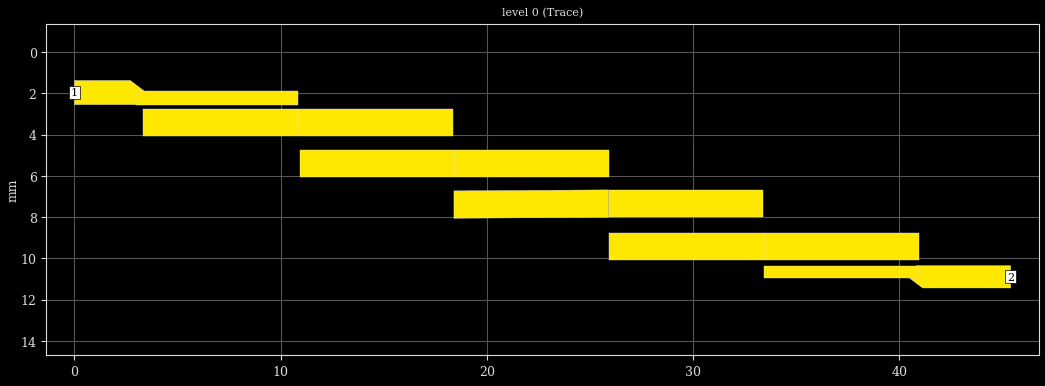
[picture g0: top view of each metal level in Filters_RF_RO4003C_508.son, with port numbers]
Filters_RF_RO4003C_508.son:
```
FTYP SONPROJ 19 ! Sonnet Project File
VER 18.53
HEADER
LIC SL64e88c52
DAT 08/28/2023 10:58:54
BUILT_BY_CREATED example 18.53 10/19/2021 01:59:07
BUILT_BY_SAVED sonnet 18.53-Lite
MDATE 08/27/2023 10:48:47
HDATE 08/27/2023 10:48:47
END HEADER
DIM
ANG DEG
CAP PF
CON /OH
FREQ GHZ
IND NH
LNG MM
RES OH
END DIM
CONTROL
VARSWP
OPTIONS  -dj
SPEED 0
CACHE_ABS 2
Q_ACC N
END CONTROL
GEO
TMET "Cover" 1 NOR 40900000 0.5 0.00254 
BMET "Cover" 1 NOR 40900000 0.5 0.00254 
MET "Gold_trace" 2 NOR 40900000 0.5 0.00254 
MET "Gold_Via" 1 VOL 40900000 0.00254
BOX 1 45.39 13.3277 1780 522 20 0
      3.81 1 1 0 0 0 0 "Air"
      0.508 3.55 1 0.0029 0 0 0 "Rogers RO4003C"
TECHLAY METAL Trace <UNSPECIFIED> -2 -65534 
0 0 0 N 595 1 1 100 100 0 0 0 Y
END
END
TECHLAY VIA Via_Gnd <UNSPECIFIED> -3 -65534 
VIA POLYGON
1 0 1 N 600 1 1 100 100 0 0 0 Y
TOLEVEL 0 RING COVERS
END
END
VALVAR L1 LNG 7.5 "Dim. Param."
VALVAR L2 LNG 7.5 "Dim. Param."
VALVAR W2 LNG 1.3265302315745 "Dim. Param."
VALVAR L1_1 LNG 8.1435045706955 "Dim. Param. L1_1"
VALVAR S1 LNG 0.66 "Dim. Param."
DIM STD YDIR -1
POS 0.8243394633 -1.723114553
NOM 0.661441928
REF1 POLY 433 1
2
REF2 POLY 433 1
1
END
DIM STD YDIR -1
POS 2.248703586 -1.825242212
NOM 0.62036474
REF1 POLY 539 1
2
REF2 POLY 539 1
1
END
DIM STD YDIR -1
POS 2.273710895 -1.054965402
NOM 0.6632656864
REF1 POLY 527 1
0
REF2 POLY 512 1
2
END
DIM STD YDIR -1
POS 1.654538812 -1.379817762
NOM 0.204038262
REF1 POLY 512 1
0
REF2 POLY 433 1
2
END
LORGN 0 13.3277 U 
POR1 BOX
POLY 15 1
3
1 50 0 0 0 0 1.964763517 
POR1 BOX
POLY 17 1
3
2 50 0 0 0 45.39 10.89832858 
NUM 12
0 7 0 N 15 1 1 100 100 0 0 0 Y
TLAYNAM Trace INH
3.559637243 2.196685359
3.559637243 2.02080642
2.703526554 1.378723404
0 1.378723404
0 2.55080363
3.08747955 2.55080363
3.559637243 2.196685359
END
0 7 0 N 17 1 1 100 100 0 0 0 Y
TLAYNAM Trace INH
40.31960107 10.83444875
40.31960107 10.73284875
40.81892014 10.35835944
45.39 10.35835944
45.39 11.43829772
41.12473302 11.43829772
40.31960107 10.83444875
END
0 5 0 N 433 1 1 100 100 0 0 0 Y
TLAYNAM Trace INH
3.001338688 1.889361702
10.84703112 1.889361702
10.84703112 2.55080363
3.001338688 2.55080363
3.001338688 1.889361702
END
0 5 0 N 442 1 1 100 100 0 0 0 Y
TLAYNAM Trace INH
3.34117708 2.754841892
10.84117708 2.754841892
10.84117708 4.081372124
3.34117708 4.081372124
3.34117708 2.754841892
END
0 5 0 N 512 1 1 100 100 0 0 0 Y
TLAYNAM Trace INH
10.84117708 2.754841892
18.34117708 2.754841892
18.34117708 4.081372124
10.84117708 4.081372124
10.84117708 2.754841892
END
0 5 0 N 527 1 1 100 100 0 0 0 Y
TLAYNAM Trace INH
18.42095888 4.74463781
25.92095888 4.74463781
25.92095888 6.071168042
18.42095888 6.071168042
18.42095888 4.74463781
END
0 5 0 N 528 1 1 100 100 0 0 0 Y
TLAYNAM Trace INH
10.92095888 4.74463781
18.42095888 4.74463781
18.42095888 6.071168042
10.92095888 6.071168042
10.92095888 4.74463781
END
0 5 0 N 533 1 1 100 100 0 0 0 Y
TLAYNAM Trace INH
25.89874067 6.680104057
33.39874067 6.680104057
33.39874067 8.006634288
25.89874067 8.006634288
25.89874067 6.680104057
END
0 5 0 N 534 1 1 100 100 0 0 0 Y
TLAYNAM Trace INH
18.39874067 6.731168042
25.89874067 6.683239633
25.89874067 8.009769867
18.39874067 8.057698273
18.39874067 6.731168042
END
0 5 0 N 539 1 1 100 100 0 0 0 Y
TLAYNAM Trace INH
33.411418 10.35835851
40.911418 10.35835851
40.911418 10.97872325
33.411418 10.97872325
33.411418 10.35835851
END
0 5 0 N 583 1 1 100 100 0 0 0 Y
TLAYNAM Trace INH
25.92765232 8.776856499
33.42765232 8.776856499
33.42765232 10.10338673
25.92765232 10.10338673
25.92765232 8.776856499
END
0 5 0 N 584 1 1 100 100 0 0 0 Y
TLAYNAM Trace INH
33.42765232 8.776856499
40.92765232 8.776856499
40.92765232 10.10338673
33.42765232 10.10338673
33.42765232 8.776856499
END
END GEO
OPT
MAX 100
END OPT
VARSWP
ENABLED Y
FREQ N AY ABS_ENTRY 5.2 6.0 -1 300 
FREQ N AY ABS_ENTRY 4.0 8.0 -1 300 
FREQ Y AN STEP 5.76
VAR L1 N 4.08405049 4.08405049 UNDEF
VAR L2 N 7.17664671 7.17664671 UNDEF
VAR W2 N 1.32653023 1.32653023 UNDEF
VAR W2 N 0.81963704 0.81963704 UNDEF
VAR W2 N 0.65654957 0.65654957 UNDEF
VAR L1_1 N 7.60174029 7.60174029 UNDEF
VAR S1 N 0.61207159 0.61207159 UNDEF
END
END VARSWP
TRANSLATOR
END TRANSLATOR
3DOPTIONS
GLOBAL 1
ALL 2 1
END 3DOPTIONS
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```
